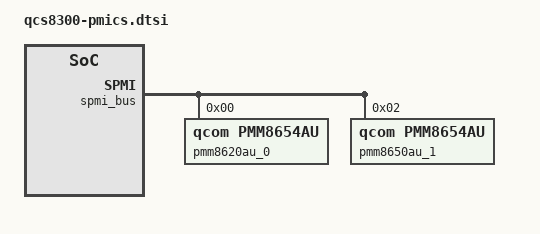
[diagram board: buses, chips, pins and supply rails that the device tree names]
// SPDX-License-Identifier: BSD-3-Clause
/*
 * Copyright (c) 2024 Qualcomm Innovation Center, Inc. All rights reserved.
 */

#include <dt-bindings/input/input.h>
#include <dt-bindings/spmi/spmi.h>

&spmi_bus {
	pmm8620au_0: pmic@0 {
		compatible = "qcom,pmm8654au", "qcom,spmi-pmic";
		reg = <0x0 SPMI_USID>;
		#address-cells = <1>;
		#size-cells = <0>;

		pmm8620au_0_rtc: rtc@6100 {
			compatible = "qcom,pmk8350-rtc";
			reg = <0x6100>, <0x6200>;
			reg-names = "rtc", "alarm";
			interrupts = <0x0 0x62 0x1 IRQ_TYPE_EDGE_RISING>;
			allow-set-time;
		};

		pmm8620au_0_gpios: gpio@8800 {
			compatible = "qcom,pmm8654au-gpio", "qcom,spmi-gpio";
			reg = <0x8800>;
			gpio-controller;
			gpio-ranges = <&pmm8620au_0_gpios 0 0 12>;
			#gpio-cells = <2>;
			interrupt-controller;
			#interrupt-cells = <2>;
		};
	};

	pmm8650au_1: pmic@2 {
		compatible = "qcom,pmm8654au", "qcom,spmi-pmic";
		reg = <0x2 SPMI_USID>;
		#address-cells = <1>;
		#size-cells = <0>;

		pmm8650au_1_gpios: gpio@8800 {
			compatible = "qcom,pmm8654au-gpio", "qcom,spmi-gpio";
			reg = <0x8800>;
			gpio-controller;
			gpio-ranges = <&pmm8650au_1_gpios 0 0 12>;
			#gpio-cells = <2>;
			interrupt-controller;
			#interrupt-cells = <2>;
		};
	};
};
